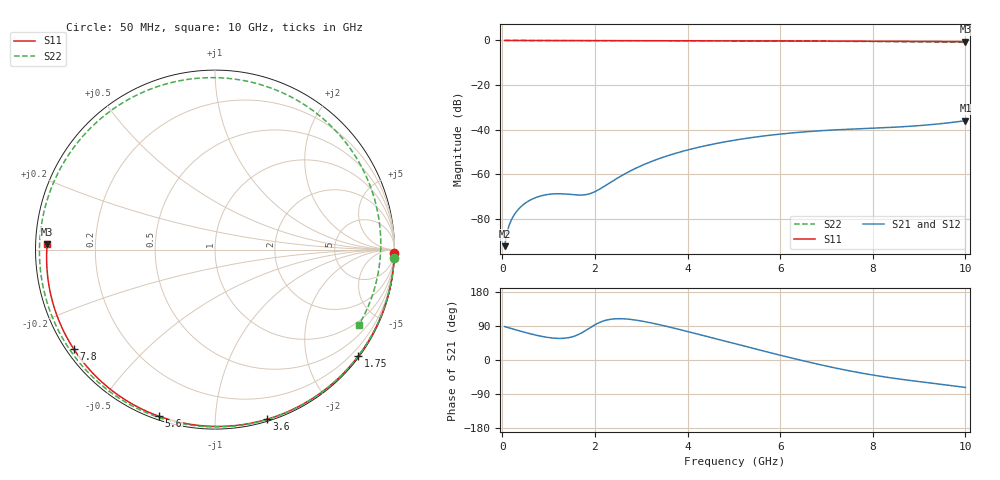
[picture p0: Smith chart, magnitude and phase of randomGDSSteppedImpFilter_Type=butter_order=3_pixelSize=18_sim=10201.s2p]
! freq	dB(S11)	phase(S11)	dB(S12)	phase(S12)
!  dB(S21)	phase(S21)	dB(S22)	phase(S22)
!S-par simulation data
#  GHz  S  DB  R 50
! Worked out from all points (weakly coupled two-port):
!   200 points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, 50 MHz to 10 GHz, reference 50 ohm
!   highest |S21| = -35.93 dB at 10 GHz (marker M1); lowest = -92.1 dB at 50 MHz (marker M2)
!   lowest |S11| = -0.6 dB at 10 GHz (marker M3), VSWR 30.03, Z = 1.67 + j0.808 ohm
!   |S11| at or under -10 dB: nowhere
!   |S22| runs from -0.9 to 0.0 dB; largest |S21 - S12| = 0
!   S11 on the Smith chart (normalised r, x): 50 MHz: open; 1.75 GHz: 0.03, -3.02; 3.6 GHz: 0.02, -1.35; 5.6 GHz: 0.02, -0.72; 7.8 GHz: 0.02, -0.32; 10 GHz: 0.03, +0.02
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0.05  -0.00 -1.1  -92.13 88.2  -92.13 88.2  -0.00 -2.6
0.2  -0.01 -4.3  -80.19 82.8  -80.19 82.8  -0.02 -10.5
0.45  -0.01 -9.6  -73.59 74.1  -73.59 74.1  -0.03 -23.3
0.8  -0.02 -17.0  -69.82 63.6  -69.82 63.6  -0.05 -40.9
1.25  -0.03 -26.4  -68.65 57.0  -68.65 57.0  -0.08 -62.6
1.75  -0.05 -36.7  -69.18 74.1  -69.18 74.1  -0.10 -84.9
2  -0.05 -41.7  -67.71 92.9  -67.71 92.9  -0.11 -95.4
2.5  -0.07 -51.7  -61.48 109.0  -61.48 109.0  -0.12 -115.1
3.4  -0.09 -69.1  -52.83 93.0  -52.83 93.0  -0.15 -147.1
3.6  -0.10 -72.9  -51.44 87.3  -51.44 87.3  -0.16 -153.7
4.3  -0.12 -85.8  -47.54 65.8  -47.54 65.8  -0.19 -176.3
5.05  -0.15 -99.1  -44.55 42.1  -44.55 42.1  -0.22 160.1
5.6  -0.18 -108.5  -42.90 24.9  -42.90 24.9  -0.26 142.6
6.2  -0.21 -118.7  -41.52 6.7  -41.52 6.7  -0.30 122.9
6.7  -0.24 -126.9  -40.67 -7.8  -40.67 -7.8  -0.34 105.7
7.25  -0.29 -136.0  -39.98 -22.6  -39.98 -22.6  -0.38 85.8
7.8  -0.33 -145.0  -39.47 -35.5  -39.47 -35.5  -0.44 64.8
8.35  -0.39 -154.0  -38.97 -46.4  -38.97 -46.4  -0.51 42.6
8.8  -0.43 -161.4  -38.44 -53.9  -38.44 -53.9  -0.58 23.8
9.2  -0.48 -168.1  -37.80 -60.0  -37.80 -60.0  -0.66 6.8
9.6  -0.53 -174.9  -36.97 -66.1  -36.97 -66.1  -0.75 -10.4
10  -0.58 178.1  -35.93 -72.5  -35.93 -72.5  -0.87 -27.6
